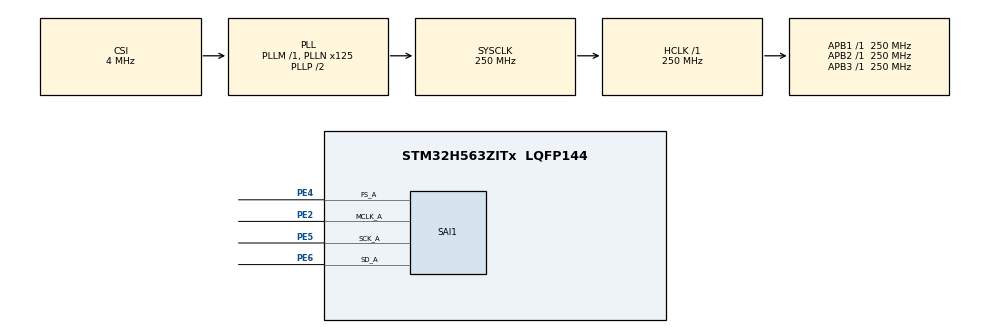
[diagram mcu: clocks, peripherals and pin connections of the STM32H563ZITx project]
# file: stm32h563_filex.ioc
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BOOTPATH.BootPathName=LEGACY
BOOTPATH.UserSelectedBootPath=LEGACY
CORTEX_M33_NS.userName=CORTEX_M33
FILEX.FX_SRAM_INTERFACE=1
GPDMA1.CIRCULARMODE_GPDMACH0=ENABLE
GPDMA1.DESTDATAWIDTH_GPDMACH0=DMA_DEST_DATAWIDTH_WORD
GPDMA1.DESTINC_GPDMACH0=DMA_DINC_INCREMENTED
GPDMA1.IPHANDLE_GPDMACH0-SIMPLEREQUEST_GPDMACH0=__NULL
GPDMA1.PRIORITY_LL_CIRCULAR_GPDMACH0=DMA_LOW_PRIORITY_HIGH_WEIGHT
GPDMA1.REQUEST_GPDMACH0=GPDMA1_REQUEST_SAI1_A
GPDMA1.SRCDATAWIDTH_GPDMACH0=DMA_SRC_DATAWIDTH_WORD
Mcu.Family=STM32H5
Mcu.Name=STM32H563ZITx
Mcu.Package=LQFP144
NVIC.GPDMA1_Channel0_IRQn=true\:0\:0\:false\:false\:true\:false\:true\:true
NVIC.PriorityGroup=NVIC_PRIORITYGROUP_4
PC14-OSC32_IN(OSC32_IN).Mode=LSE-External-Oscillator
PC14-OSC32_IN(OSC32_IN).Signal=RCC_OSC32_IN
PC15-OSC32_OUT(OSC32_OUT).Mode=LSE-External-Oscillator
PC15-OSC32_OUT(OSC32_OUT).Signal=RCC_OSC32_OUT
PE2.Mode=SAI_A_MasterWithClock
PE2.Signal=SAI1_MCLK_A
PE4.Mode=SAI_A_MasterWithClock
PE4.Signal=SAI1_FS_A
PE5.Mode=SAI_A_MasterWithClock
PE5.Signal=SAI1_SCK_A
PE6.Mode=SAI_A_MasterWithClock
PE6.Signal=SAI1_SD_A
ProjectManager.HeapSize=0x200
ProjectManager.StackSize=0x400
ProjectManager.TargetToolchain=STM32CubeIDE
RCC.ADCFreq_Value=250000000
RCC.AHBFreq_Value=250000000
RCC.APB1Freq_Value=250000000
RCC.APB1TimFreq_Value=250000000
RCC.APB2Freq_Value=250000000
RCC.APB2TimFreq_Value=250000000
RCC.APB3Freq_Value=250000000
RCC.CSI_VALUE=4000000
RCC.CortexFreq_Value=250000000
RCC.EPOD_VALUE=4000000
RCC.HCLKFreq_Value=250000000
RCC.HSE_VALUE=25000000
RCC.HSI48_VALUE=48000000
RCC.HSI_VALUE=64000000
RCC.LSIRC_VALUE=32000
RCC.PLL2FRACN=0
RCC.PLL2M=5
RCC.PLL2N=48
RCC.PLL2P=25
RCC.PLL2Source=RCC_PLL2_SOURCE_HSI
RCC.PLL3FRACN=0
RCC.PLL3P=1
RCC.PLLFRACN=0
RCC.PLLN=125
RCC.RTCClockSelection=RCC_RTCCLKSOURCE_LSE
RCC.SYSCLKFreq_VALUE=250000000
RCC.SYSCLKSource=RCC_SYSCLKSOURCE_PLLCLK
RCC.USBFreq_Value=48000000
RCC.VCOOutputFreq_Value=500000000
RTC.BinMode=RTC_BINARY_NONE
SAI1.AudioFrequency-SAI_A_MasterWithClock=SAI_AUDIO_FREQUENCY_48K
SAI1.AudioMode-SAI_A_MasterWithClock=SAI_MODEMASTER_RX
SAI1.ErrorAudioFreq-SAI_A_MasterWithClock=0.0 %
SAI1.InitProtocol-SAI_A_MasterWithClock=Enable
SAI1.Instance-SAI_A_MasterWithClock=SAI$Index_Block_A
SAI1.MckOutput-SAI_A_MasterWithClock=SAI_MCK_OUTPUT_ENABLE
SAI1.RealAudioFreq-SAI_A_MasterWithClock=48.0 KHz
SAI1.VirtualMode-SAI_A_MasterWithClock=VM_MASTER
SAI1.VirtualProtocol-SAI_A_BASIC=VM_BASIC_PROTOCOL
VP_BOOTPATH_VS_BOOTPATH.Mode=BP_Activate
VP_CORTEX_M33_NS_VS_Hclk.Mode=Hclk_Mode
VP_DCACHE1_VS_DCACHE.Mode=DCACHE_Activate
VP_FILEX_VS_FileOoSystemJjFileXJjCore.Mode=FileX_Core
VP_FILEX_VS_InternalOoRAMOointerface.Mode=Internal_RAM_interface
VP_GPDMA1_VS_GPDMACH0.Mode=SIMPLEREQUEST_GPDMACH0
VP_ICACHE_VS_ICACHE.Mode=DirectMappedCache
VP_MEMORYMAP_VS_MEMORYMAP.Mode=CurAppReg
VP_PWR_VS_LPOM.Mode=PowerOptimisation
VP_PWR_VS_SECSignals.Mode=Security/Privilege
VP_RTC_VS_RTC_Activate.Mode=RTC_Enabled
VP_SAI1_VP_$IpInstance_SAIA_SAI_BASIC.Mode=SAI_A_BASIC
board=custom

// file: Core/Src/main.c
/* USER CODE BEGIN Header */
/**
  ******************************************************************************
  * @file           : main.c
  * @brief          : Main program body
  ******************************************************************************
  * @attention
  *
  * Copyright (c) 2025 STMicroelectronics.
  * All rights reserved.
  *
  * This software is licensed under terms that can be found in the LICENSE file
  * in the root directory of this software component.
  * If no LICENSE file comes with this software, it is provided AS-IS.
  *
  ******************************************************************************
  */
/* USER CODE END Header */
#include "main.h"
#include "app_filex.h"

DCACHE_HandleTypeDef hdcache1;

RTC_HandleTypeDef hrtc;

SAI_HandleTypeDef hsai_BlockA1;
DMA_NodeTypeDef Node_GPDMA1_Channel0;
DMA_QListTypeDef List_GPDMA1_Channel0;
DMA_HandleTypeDef handle_GPDMA1_Channel0;

void SystemClock_Config(void);
static void MX_GPIO_Init(void);
static void MX_GPDMA1_Init(void);
static void MX_SAI1_Init(void);
static void MX_RTC_Init(void);
static void MX_DCACHE1_Init(void);
static void MX_ICACHE_Init(void);

/* USER CODE BEGIN 0 */
wave_conf_t wave_conf =
{
  .update_pointer = -1,
  .status = INIT,
  .file_number = 0,
  .bit_per_sample = 24,
  .channel_number = 2,
  .max_file_size = WAV_RECORD_BUFF_SIZE * 1024,
  .sample_rate = 48000,
  .saved_file_size = 0,
  .file_type = WAV_FILE,
};

csv_conf_t csv_conf =
{
  .update_100hz = 0,
  .status = INIT,
  .file_number = 0,
  .max_file_size = CSV_RECORD_BUFF_SIZE * 1024 * 1024,
  .saved_file_size = 0,
  .file_type = CSV_FILE,
};

void HAL_SAI_RxCpltCallback(SAI_HandleTypeDef *hsai)
{
  wave_conf.update_pointer = WAV_RECORD_BUFF_SIZE/2;
}

void HAL_SAI_RxHalfCpltCallback(SAI_HandleTypeDef *hsai)
{
  wave_conf.update_pointer = 0;
}

static void get_filename(char *filename, int size, int number, filetype_e filetype)
{
  RTC_TimeTypeDef sTime;
  RTC_DateTypeDef sDate;

  // RTC 현재 시간 가져오기
  if (HAL_RTC_GetTime(&hrtc, &sTime, RTC_FORMAT_BIN) != HAL_OK)
  {
    Error_Handler();
  }

  // RTC 현재 날짜 가져오기
  if (HAL_RTC_GetDate(&hrtc, &sDate, RTC_FORMAT_BIN) != HAL_OK)
  {
    Error_Handler();
  }

  memset(filename, 0x00, size);

  if(filetype == WAV_FILE)
  {
    snprintf(filename, size, "%04d%02d%02d_%02d%02d%02d_%04d.wav",
             2000 + sDate.Year, sDate.Month, sDate.Date,
             sTime.Hours, sTime.Minutes, sTime.Seconds, number);
  }
  else if(filetype == CSV_FILE)
  {
    snprintf(filename, size, "%04d%02d%02d_%02d%02d%02d_%04d.csv",
             2000 + sDate.Year, sDate.Month, sDate.Date,
             sTime.Hours, sTime.Minutes, sTime.Seconds, number);
  }
}
/* USER CODE END 0 */

int main(void)
{

  /* MCU Configuration--------------------------------------------------------*/

  /* Reset of all peripherals, Initializes the Flash interface and the Systick. */
  HAL_Init();

  /* USER CODE BEGIN Init */
  HAL_PWR_EnableBkUpAccess();
  __HAL_RCC_BACKUPRESET_FORCE();
  __NOP();__NOP();__NOP();__NOP();__NOP();
  __HAL_RCC_BACKUPRESET_RELEASE();
  HAL_PWR_DisableBkUpAccess();
  /* USER CODE END Init */

  /* Configure the system clock */
  SystemClock_Config();

  /* Initialize all configured peripherals */
  MX_GPIO_Init();
  MX_GPDMA1_Init();
  MX_SAI1_Init();
  MX_FileX_Init();
  MX_RTC_Init();
  MX_DCACHE1_Init();
  MX_ICACHE_Init();
  /* USER CODE BEGIN 2 */
  MX_FileX_Process();
  /* USER CODE END 2 */

  /* Infinite loop */
  /* USER CODE BEGIN WHILE */
  while (1)
  {
    /* for audio */
    switch(wave_conf.status)
    {
      case INIT:
        HAL_SAI_Receive_DMA(&hsai_BlockA1, (uint8_t *)wave_conf.recod_buff, WAV_RECORD_BUFF_SIZE);
        wave_conf.status = START;
        wave_conf.file_number=0;
        break;

      case START:
        wave_conf.file_number++;
        wave_conf.saved_file_size = 0;
        get_filename(wave_conf.filename, sizeof(wave_conf.filename), wave_conf.file_number, wave_conf.file_type);
        wave_file_create(wave_conf.filename, &wave_conf);
        wave_conf.status = UPDATE;
        break;

      case UPDATE:
        if(wave_conf.update_pointer != -1)
        {
          if(wave_file_update(wave_conf.filename, (uint8_t *)&wave_conf.recod_buff[wave_conf.update_pointer], (int)((WAV_RECORD_BUFF_SIZE/2) * 4)) == 1)
          {
            wave_conf.status = STOP;
          }
          wave_conf.update_pointer = -1;
        }
        break;

      case STOP:
        wave_file_close(wave_conf.filename);
        wave_conf.status = START;
        break;
    }

    /* for csv */
    switch(csv_conf.status)
    {
      case INIT:
        csv_conf.status = START;
        csv_conf.file_number=0;
        break;

      case START:
        csv_conf.file_number++;
        csv_conf.saved_file_size = 0;
        get_filename(csv_conf.filename, sizeof(csv_conf.filename), csv_conf.file_number, csv_conf.file_type);
        csv_conf.status = UPDATE;
        break;

      case UPDATE:
        if(csv_conf.update_100hz == 1)
        {
          if(csv_file_update(csv_conf.filename, (uint8_t *)&csv_conf.recod_buff, (int)(CSV_RECORD_BUFF_SIZE)) == 1)
          {
            csv_conf.status = STOP;
          }
          csv_conf.update_100hz = 0;
        }
        break;

      case STOP:
        csv_file_close(csv_conf.filename);
        csv_conf.status = START;
        break;
    }

    /* USER CODE END WHILE */

  }
}

void SystemClock_Config(void)
{
  RCC_OscInitTypeDef RCC_OscInitStruct = {0};
  RCC_ClkInitTypeDef RCC_ClkInitStruct = {0};

  /** Configure the main internal regulator output voltage
  */
  __HAL_PWR_VOLTAGESCALING_CONFIG(PWR_REGULATOR_VOLTAGE_SCALE0);

  while(!__HAL_PWR_GET_FLAG(PWR_FLAG_VOSRDY)) {}

  /** Configure LSE Drive Capability
  *  Warning : Only applied when the LSE is disabled.
  */
  HAL_PWR_EnableBkUpAccess();
  __HAL_RCC_LSEDRIVE_CONFIG(RCC_LSEDRIVE_LOW);

  /** Initializes the RCC Oscillators according to the specified parameters
  * in the RCC_OscInitTypeDef structure.
  */
  RCC_OscInitStruct.OscillatorType = RCC_OSCILLATORTYPE_HSI|RCC_OSCILLATORTYPE_LSE
                              |RCC_OSCILLATORTYPE_CSI;
  RCC_OscInitStruct.LSEState = RCC_LSE_ON;
  RCC_OscInitStruct.HSIState = RCC_HSI_ON;
  RCC_OscInitStruct.HSIDiv = RCC_HSI_DIV2;
  RCC_OscInitStruct.HSICalibrationValue = RCC_HSICALIBRATION_DEFAULT;
  RCC_OscInitStruct.CSIState = RCC_CSI_ON;
  RCC_OscInitStruct.CSICalibrationValue = RCC_CSICALIBRATION_DEFAULT;
  RCC_OscInitStruct.PLL.PLLState = RCC_PLL_ON;
  RCC_OscInitStruct.PLL.PLLSource = RCC_PLL1_SOURCE_CSI;
  RCC_OscInitStruct.PLL.PLLM = 1;
  RCC_OscInitStruct.PLL.PLLN = 125;
  RCC_OscInitStruct.PLL.PLLP = 2;
  RCC_OscInitStruct.PLL.PLLQ = 2;
  RCC_OscInitStruct.PLL.PLLR = 2;
  RCC_OscInitStruct.PLL.PLLRGE = RCC_PLL1_VCIRANGE_2;
  RCC_OscInitStruct.PLL.PLLVCOSEL = RCC_PLL1_VCORANGE_WIDE;
  RCC_OscInitStruct.PLL.PLLFRACN = 0;
  if (HAL_RCC_OscConfig(&RCC_OscInitStruct) != HAL_OK)
  {
    Error_Handler();
  }

  /** Initializes the CPU, AHB and APB buses clocks
  */
  RCC_ClkInitStruct.ClockType = RCC_CLOCKTYPE_HCLK|RCC_CLOCKTYPE_SYSCLK
                              |RCC_CLOCKTYPE_PCLK1|RCC_CLOCKTYPE_PCLK2
                              |RCC_CLOCKTYPE_PCLK3;
  RCC_ClkInitStruct.SYSCLKSource = RCC_SYSCLKSOURCE_PLLCLK;
  RCC_ClkInitStruct.AHBCLKDivider = RCC_SYSCLK_DIV1;
  RCC_ClkInitStruct.APB1CLKDivider = RCC_HCLK_DIV1;
  RCC_ClkInitStruct.APB2CLKDivider = RCC_HCLK_DIV1;
  RCC_ClkInitStruct.APB3CLKDivider = RCC_HCLK_DIV1;

  if (HAL_RCC_ClockConfig(&RCC_ClkInitStruct, FLASH_LATENCY_5) != HAL_OK)
  {
    Error_Handler();
  }

  /** Configure the programming delay
  */
  __HAL_FLASH_SET_PROGRAM_DELAY(FLASH_PROGRAMMING_DELAY_2);
}

static void MX_DCACHE1_Init(void)
{

  hdcache1.Instance = DCACHE1;
  hdcache1.Init.ReadBurstType = DCACHE_READ_BURST_WRAP;
  if (HAL_DCACHE_Init(&hdcache1) != HAL_OK)
  {
    Error_Handler();
  }

}

static void MX_GPDMA1_Init(void)
{

  /* Peripheral clock enable */
  __HAL_RCC_GPDMA1_CLK_ENABLE();

  /* GPDMA1 interrupt Init */
    HAL_NVIC_SetPriority(GPDMA1_Channel0_IRQn, 0, 0);
    HAL_NVIC_EnableIRQ(GPDMA1_Channel0_IRQn);

}

static void MX_ICACHE_Init(void)
{

  /** Enable instruction cache in 1-way (direct mapped cache)
  */
  if (HAL_ICACHE_ConfigAssociativityMode(ICACHE_1WAY) != HAL_OK)
  {
    Error_Handler();
  }
  if (HAL_ICACHE_Enable() != HAL_OK)
  {
    Error_Handler();
  }

}

static void MX_RTC_Init(void)
{

  /* USER CODE BEGIN RTC_Init 0 */
  RTC_TimeTypeDef sTime = {0};
  RTC_DateTypeDef sDate = {0};

  /* USER CODE END RTC_Init 0 */

  RTC_PrivilegeStateTypeDef privilegeState = {0};

  /** Initialize RTC Only
  */
  hrtc.Instance = RTC;
  hrtc.Init.HourFormat = RTC_HOURFORMAT_24;
  hrtc.Init.AsynchPrediv = 127;
  hrtc.Init.SynchPrediv = 255;
  hrtc.Init.OutPut = RTC_OUTPUT_DISABLE;
  hrtc.Init.OutPutRemap = RTC_OUTPUT_REMAP_NONE;
  hrtc.Init.OutPutPolarity = RTC_OUTPUT_POLARITY_HIGH;
  hrtc.Init.OutPutType = RTC_OUTPUT_TYPE_OPENDRAIN;
  hrtc.Init.OutPutPullUp = RTC_OUTPUT_PULLUP_NONE;
  hrtc.Init.BinMode = RTC_BINARY_NONE;
  if (HAL_RTC_Init(&hrtc) != HAL_OK)
  {
    Error_Handler();
  }
  privilegeState.rtcPrivilegeFull = RTC_PRIVILEGE_FULL_NO;
  privilegeState.backupRegisterPrivZone = RTC_PRIVILEGE_BKUP_ZONE_NONE;
  privilegeState.backupRegisterStartZone2 = RTC_BKP_DR0;
  privilegeState.backupRegisterStartZone3 = RTC_BKP_DR0;
  if (HAL_RTCEx_PrivilegeModeSet(&hrtc, &privilegeState) != HAL_OK)
  {
    Error_Handler();
  }
  /* USER CODE BEGIN RTC_Init 2 */
  sTime.Hours = 0x2;
  sTime.Minutes = 0x20;
  sTime.Seconds = 0x0;
  sTime.DayLightSaving = RTC_DAYLIGHTSAVING_NONE;
  sTime.StoreOperation = RTC_STOREOPERATION_RESET;
  if (HAL_RTC_SetTime(&hrtc, &sTime, RTC_FORMAT_BCD) != HAL_OK)
  {
    Error_Handler();
  }
  sDate.WeekDay = RTC_WEEKDAY_MONDAY;
  sDate.Month = RTC_MONTH_FEBRUARY;
  sDate.Date = 0x14;
  sDate.Year = 0x22;

  if (HAL_RTC_SetDate(&hrtc, &sDate, RTC_FORMAT_BCD) != HAL_OK)
  {
    Error_Handler();
  }
  /* USER CODE END RTC_Init 2 */

}

static void MX_SAI1_Init(void)
{

  hsai_BlockA1.Instance = SAI1_Block_A;
  hsai_BlockA1.Init.AudioMode = SAI_MODEMASTER_RX;
  hsai_BlockA1.Init.Synchro = SAI_ASYNCHRONOUS;
  hsai_BlockA1.Init.OutputDrive = SAI_OUTPUTDRIVE_DISABLE;
  hsai_BlockA1.Init.NoDivider = SAI_MASTERDIVIDER_ENABLE;
  hsai_BlockA1.Init.FIFOThreshold = SAI_FIFOTHRESHOLD_EMPTY;
  hsai_BlockA1.Init.AudioFrequency = SAI_AUDIO_FREQUENCY_48K;
  hsai_BlockA1.Init.SynchroExt = SAI_SYNCEXT_DISABLE;
  hsai_BlockA1.Init.MckOutput = SAI_MCK_OUTPUT_ENABLE;
  hsai_BlockA1.Init.MonoStereoMode = SAI_STEREOMODE;
  hsai_BlockA1.Init.CompandingMode = SAI_NOCOMPANDING;
  if (HAL_SAI_InitProtocol(&hsai_BlockA1, SAI_I2S_STANDARD, SAI_PROTOCOL_DATASIZE_16BIT, 2) != HAL_OK)
  {
    Error_Handler();
  }

}

static void MX_GPIO_Init(void)
{

  /* GPIO Ports Clock Enable */
  __HAL_RCC_GPIOE_CLK_ENABLE();
  __HAL_RCC_GPIOC_CLK_ENABLE();

}

void Error_Handler(void)
{
  __disable_irq();
  while (1)
  {
  }
}
